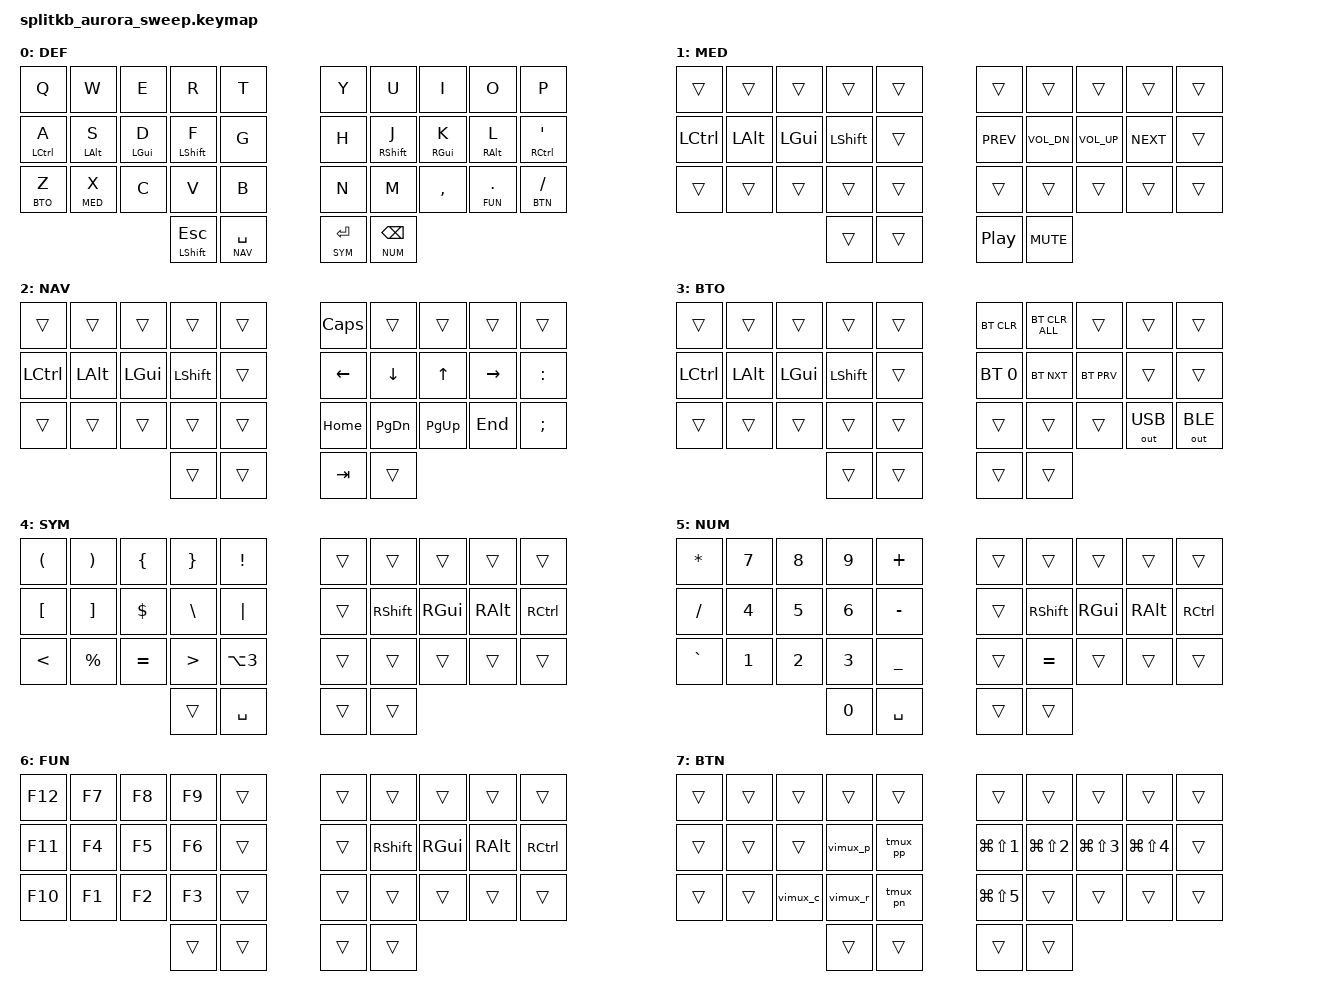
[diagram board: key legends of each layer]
/*
 * Copyright (c) 2020 The ZMK Contributors
 *
 * SPDX-License-Identifier: MIT
 */

#include <behaviors.dtsi>
#include <dt-bindings/zmk/keys.h>
#include <dt-bindings/zmk/bt.h>
#include <dt-bindings/zmk/outputs.h>

// Layers

#define QWE 0
#define MED 1
#define NAV 2
#define BTO 3
#define SYM 4
#define NUM 5
#define FUN 6
#define BTN 7

&lt {
    flavor = "balanced";
    tapping-term-ms = <180>;
};

/ {
		behaviors {
			am: alpha_mods {
				compatible = "zmk,behavior-hold-tap";
				label = "ALPHA_MT";
				#binding-cells = <2>;
				tapping-term-ms = <250>;
				quick-tap-ms = <150>;
				flavor = "balanced";
				bindings = <&kp>, <&kp>;
			};
		};
		macros {
			vimux_p: vimux_p {
				label = "VIMUX_P";
				compatible = "zmk,behavior-macro";
				#binding-cells = <0>;
				wait-ms = <40>;
				tap-ms = <40>;
				bindings
					= <&kp BSLH &kp V &kp P>
					;
			};
			vimux_r: vimux_r {
				label = "VIMUX_R";
				compatible = "zmk,behavior-macro";
				#binding-cells = <0>;
				wait-ms = <40>;
				tap-ms = <40>;
				bindings
					= <&kp BSLH &kp R>
					;
			};
			vimux_c: vimux_c {
				label = "VIMUX_C";
				compatible = "zmk,behavior-macro";
				#binding-cells = <0>;
				wait-ms = <40>;
				tap-ms = <40>;
				bindings
					= <&kp BSLH &kp C>
					;
			};
			tmux_pp: tmux_pp {
				label = "TMUX_PP";
				compatible = "zmk,behavior-macro";
				#binding-cells = <0>;
				wait-ms = <40>;
				tap-ms = <40>;
				bindings
					= <&macro_press &kp LCTRL>
					, <&macro_tap &kp B>
					, <&macro_release &kp LCTRL>
					, <&macro_tap &kp P>
					;
			};
			tmux_pn: tmux_pn {
				label = "TMUX_PN";
				compatible = "zmk,behavior-macro";
				#binding-cells = <0>;
				wait-ms = <40>;
				tap-ms = <40>;
				bindings
					= <&macro_press &kp LCTRL>
					, <&macro_tap &kp B>
					, <&macro_release &kp LCTRL>
					, <&macro_tap &kp O>
					;
			};
		};
		keymap {
				compatible = "zmk,keymap";

				default_layer {
					label = "DEF";
					bindings = <
   &kp Q        &kp W           &kp E           &kp R           &kp T                   &kp Y            &kp U          &kp I          &kp O         &kp P
   &am LCTRL A  &am LALT S      &am LGUI D      &am LSHFT F     &kp G                   &kp H            &am RSHFT J    &am RGUI K     &am RALT L    &am RCTRL APOS
   &lt BTO Z    &lt MED X           &kp C           &kp V       &kp B                   &kp N            &kp M          &kp COMMA      &lt FUN DOT   &lt BTN FSLH
						                   &am LSHFT ESC   &lt NAV SPACE             &lt SYM RET    &lt NUM BSPC
					>;
				};

				media_layer {
					label = "MED";
					bindings = <
   &trans        &trans           &trans           &trans           &trans                   &trans        &trans          &trans          &trans         &trans
   &kp LCTRL     &kp LALT         &kp LGUI         &kp LSHFT        &trans                   &kp C_PREV    &kp C_VOL_DN    &kp C_VOL_UP    &kp C_NEXT     &trans
   &trans        &trans           &trans           &trans           &trans                   &trans        &trans          &trans          &trans         &trans
							                 &trans           &trans                   &kp C_PP        &kp K_MUTE
					>;
				};

				navigation_layer {
					label = "NAV";
					bindings = <
   &trans        &trans           &trans           &trans           &trans                   &kp CAPS      &trans          &trans          &trans         &trans
   &kp LCTRL     &kp LALT         &kp LGUI         &kp LSHFT        &trans                   &kp LEFT      &kp DOWN        &kp UP          &kp RIGHT      &kp COLON
   &trans        &trans           &trans           &trans           &trans                   &kp HOME      &kp PG_DN       &kp PG_UP       &kp END        &kp SEMI
							                 &trans           &trans                   &kp TAB        &trans
					>;
				};

				bluetooth_layer {
					label = "BTO";
					bindings = <
   &trans        &trans           &trans           &trans           &trans                   &bt BT_CLR    &bt BT_CLR_ALL  &trans          &trans         &trans
   &kp LCTRL     &kp LALT         &kp LGUI         &kp LSHFT        &trans                   &bt BT_SEL 0  &bt BT_NXT      &bt BT_PRV      &trans         &trans
   &trans        &trans           &trans           &trans           &trans                   &trans        &trans          &trans          &out OUT_USB   &out OUT_BLE
							                 &trans           &trans                   &trans        &trans
					>;
				};

				symbols_layer {
					label = "SYM";
					bindings = <
   &kp LPAR      &kp RPAR         &kp LBRC         &kp RBRC         &kp EXCL                 &trans        &trans          &trans          &trans         &trans
   &kp LBKT      &kp RBKT         &kp DLLR         &kp BSLH         &kp PIPE                 &trans        &kp RSHFT       &kp RGUI        &kp RALT       &kp RCTRL
   &kp LT        &kp PRCNT        &kp EQUAL        &kp GT           &kp LA(N3)               &trans        &trans          &trans          &trans         &trans
							                 &trans        &kp SPACE                   &trans        &trans
					>;
				};

				numbers_layer {
					label = "NUM";
					bindings = <
   &kp STAR      &kp N7           &kp N8           &kp N9           &kp PLUS                 &trans        &trans          &trans          &trans         &trans
   &kp FSLH      &kp N4           &kp N5           &kp N6           &kp MINUS                &trans        &kp RSHFT       &kp RGUI        &kp RALT       &kp RCTRL
   &kp GRAVE     &kp N1           &kp N2           &kp N3           &kp UNDER                &trans        &kp EQUAL          &trans          &trans         &trans
							                 &kp N0           &kp SPACE           &trans        &trans
					>;
				};

				function_layer {
					label = "FUN";
					bindings = <
   &kp F12     &kp F7           &kp F8           &kp F9           &trans                &trans        &trans          &trans          &trans         &trans
   &kp F11     &kp F4           &kp F5           &kp F6           &trans                &trans        &kp RSHFT       &kp RGUI        &kp RALT       &kp RCTRL
   &kp F10     &kp F1           &kp F2           &kp F3           &trans                &trans        &trans          &trans          &trans         &trans
							               &trans           &trans                &trans        &trans
					>;
				};

				macro_layer {
					label = "BTN";
					bindings = <
   &trans       &trans          &trans           &trans           &trans                &trans           &trans           &trans          &trans           &trans
   &trans       &trans          &trans           &vimux_p         &tmux_pp              &kp LG(LS(N1))   &kp LG(LS(N2))   &kp LG(LS(N3))  &kp LG(LS(N4))   &trans
   &trans       &trans          &vimux_c         &vimux_r         &tmux_pn              &kp LG(LS(N5))   &trans           &trans          &trans           &trans
							               &trans           &trans                &trans           &trans
					>;
				};
		};
};
